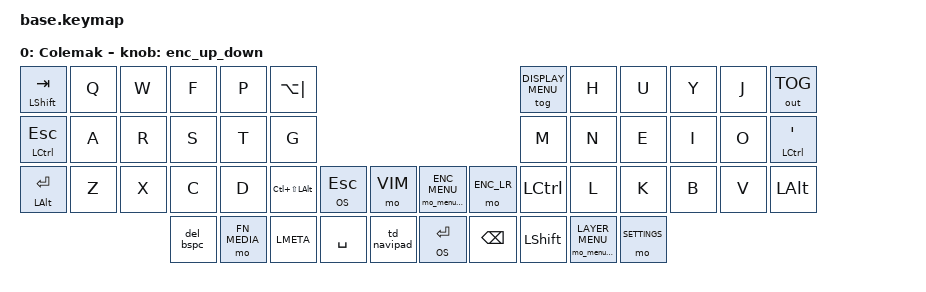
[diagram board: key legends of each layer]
/ {
    keymap {
        compatible = "zmk,keymap";
        colemak {
            label = "Colemak";
            sensor-bindings = <&enc_up_down>;
            bindings = <
//                ╭─────────┬─────┬─────┬───────────┬────────────┬─────────────╮                                                               ╭────────────────┬───────────────────────────┬────────────┬─────┬─────┬───────────────╮
//                │  ⇧ │ ⭾  │  Q  │  W  │     F     │     P      │            │                                                               │  DISPLAY_MENU │             H             │     U      │  Y  │  J  │ Toggle Output │
//                ├─────────┼─────┼─────┼───────────┼────────────┼─────────────┤                                                               ├────────────────┼───────────────────────────┼────────────┼─────┼─────┼───────────────┤
//                │  ⌃ │ ⎋  │  A  │  R  │     S     │     T      │      G      │                                                               │       M        │             N             │     E      │  I  │  O  │     ⌃ │ '     │
//                ├─────────┼─────┼─────┼───────────┼────────────┼─────────────┼────────────┬─────────╮   ╭─────────────────────────┬──────────┼────────────────┼───────────────────────────┼────────────┼─────┼─────┼───────────────┤
//                │  ⎇ │ ⏎  │  Z  │  X  │     C     │     D      │ LC(LS( ⎇ )) │ &lt OS  ⎋  │   VIM  │   │ &mo_menu_macro ENC_MENU │  ENC_LR │       ⌃        │             L             │     K      │  B  │  V  │       ⎇       │
//                ╰─────────┴─────┴─────┼───────────┼────────────┼─────────────┼────────────┼─────────┤   ├─────────────────────────┼──────────┼────────────────┼───────────────────────────┼────────────┼─────┴─────┴───────────────╯
//                                      │ &del_bspc │  FN_MEDIA │      ◆      │     ␣      │ navipad │   │       &lt OS  ⏎         │    ⌫     │       ⇧        │ &mo_menu_macro LAYER_MENU │  SETTINGS │                            
//                                      ╰───────────┴────────────┴─────────────┴────────────┴─────────╯   ╰─────────────────────────┴──────────┴────────────────┴───────────────────────────┴────────────╯                            
              &mt LSHIFT TAB   &kp Q   &kp W   &kp F       &kp P          &kp LA(PIPE)                                                                             &tog DISPLAY_MENU   &kp H                       &kp U          &kp Y   &kp J   &out OUT_TOG 
              &mt LCTRL ESC    &kp A   &kp R   &kp S       &kp T          &kp G                                                                                    &kp M               &kp N                       &kp E          &kp I   &kp O   &mt LCTRL SQT
              &mt LALT RET     &kp Z   &kp X   &kp C       &kp D          &kp LC(LS(LALT))   &lt OS ESC   &mo VIM           &mo_menu_macro ENC_MENU   &mo ENC_LR   &kp LCTRL           &kp L                       &kp K          &kp B   &kp V   &kp LALT     
                                               &del_bspc   &mo FN_MEDIA   &kp LMETA          &kp SPACE    &td_navipad       &lt OS RET                &kp BSPC     &kp LSHIFT          &mo_menu_macro LAYER_MENU   &mo SETTINGS                                
            >;
        };
	};
    behaviors {
        enc_kp: enc_kp {
            compatible = "zmk,behavior-sensor-rotate-var";
            label = "ENC_KP";
            #sensor-binding-cells = <2>;
            bindings = <&kp>, <&kp>;
        };
        enc_up_down: enc_up_down {
            compatible = "zmk,behavior-sensor-rotate";
            label = "ENC_UP_DOWN";
            #sensor-binding-cells = <0>;
            // mod morphs
            bindings = <&ctrl_down>, <&ctrl_up>;
        };
		TAP_DANCE(td_navipad, &mo_NAVIPAD, &tog NAVIPAD);
    };
	macros {
		MACRO_BEFORE_AFTER(mo_NAVIPAD, &mo NAVIPAD, , &mo NUMPAD)
	};
	conditional_layers {
		compatible = "zmk,conditional-layers";
		tri_layer {
			if-layers = <VIM OS>;
			then-layer = <FN_KEYS>;
		};
	};
};
